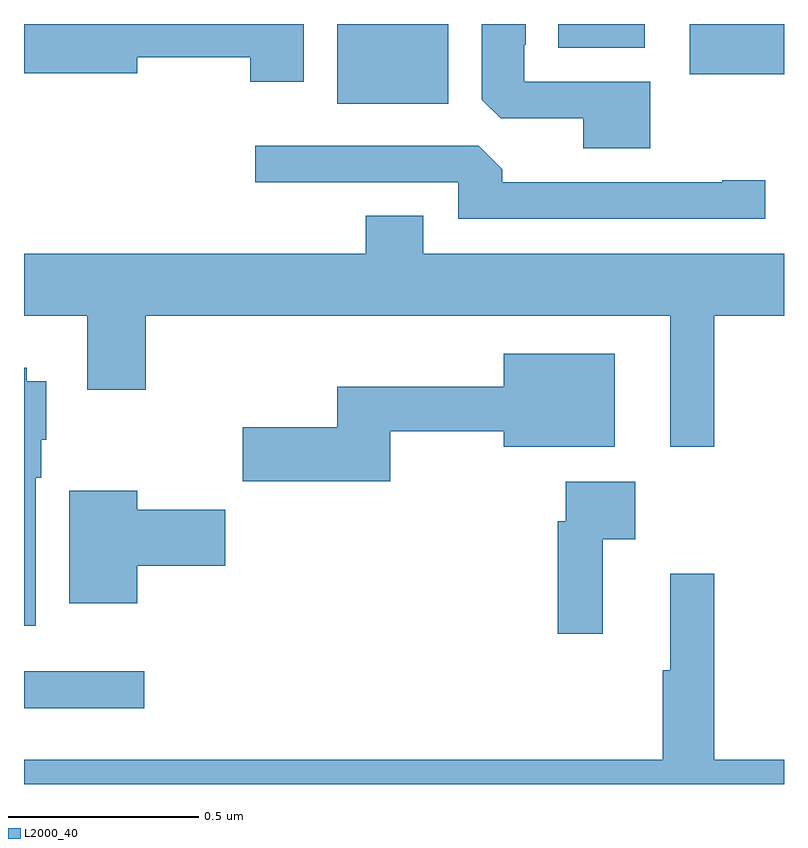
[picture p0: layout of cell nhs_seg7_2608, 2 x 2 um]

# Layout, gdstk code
import gdstk
lib = gdstk.Library(unit=1e-6, precision=1e-09)
def R(c, l, rs):  # rectangles x0, y0, x1, y1
    for r in rs: c.add(gdstk.rectangle(r[:2], r[2:], *l))
def P(c, l, *ps):  # polygons
    for p in ps: c.add(gdstk.Polygon(p, *l))
L2000_40 = (2000, 40)

nhs_seg7_2608 = lib.new_cell('nhs_seg7_2608')
R(nhs_seg7_2608, L2000_40, [(147,1050.2,147.316,1050.297), (147.824,1051.79,148.117,1052), (148.752,1051.868,149,1052), (148.406,1051.937,148.633,1052)])
P(nhs_seg7_2608, L2000_40, [(147.736,1052),(147,1052),(147,1051.87),(147.298,1051.87),(147.298,1051.912),(147.595,1051.912),(147.595,1051.848),(147.736,1051.848)],
  [(148.648,1051.848),(148.317,1051.848),(148.317,1051.945),(148.321,1051.945),(148.321,1052),(148.205,1052),(148.205,1051.801),(148.254,1051.752),(148.472,1051.752),(148.472,1051.673),(148.648,1051.673)],
  [(148.951,1051.589),(148.838,1051.589),(148.838,1051.584),(148.259,1051.584),(148.259,1051.618),(148.197,1051.68),(147.609,1051.68),(147.609,1051.584),(148.143,1051.584),(148.143,1051.488),(148.951,1051.488)],
  [(148.817,1051.232),(149,1051.232),(149,1051.396),(148.051,1051.396),(148.051,1051.495),(147.899,1051.495),(147.899,1051.396),(147,1051.396),(147,1051.232),(147.167,1051.232),(147.167,1051.038),(147.32,1051.038),(147.32,1051.232),(148.7,1051.232),(148.7,1050.888),(148.817,1050.888)],
  [(147.964,1050.928),(148.262,1050.928),(148.262,1050.887),(148.555,1050.887),(148.555,1051.132),(148.262,1051.132),(148.262,1051.046),(147.824,1051.046),(147.824,1050.939),(147.576,1050.939),(147.576,1050.797),(147.964,1050.797)],
  [(147.031,1050.806),(147.046,1050.806),(147.046,1050.906),(147.058,1050.906),(147.058,1051.06),(147.007,1051.06),(147.007,1051.096),(147,1051.096),(147,1050.417),(147.031,1050.417)],
  [(148.523,1050.644),(148.609,1050.644),(148.609,1050.796),(148.425,1050.796),(148.425,1050.692),(148.405,1050.692),(148.405,1050.396),(148.523,1050.396)],
  [(147.298,1050.575),(147.529,1050.575),(147.529,1050.722),(147.298,1050.722),(147.298,1050.772),(147.119,1050.772),(147.119,1050.476),(147.298,1050.476)],
  [(149,1050.064),(148.817,1050.064),(148.817,1050.553),(148.7,1050.553),(148.7,1050.3),(148.681,1050.3),(148.681,1050.064),(147,1050.064),(147,1050),(149,1050)])

lib.write_gds('nhs_seg7_2608.gds')
